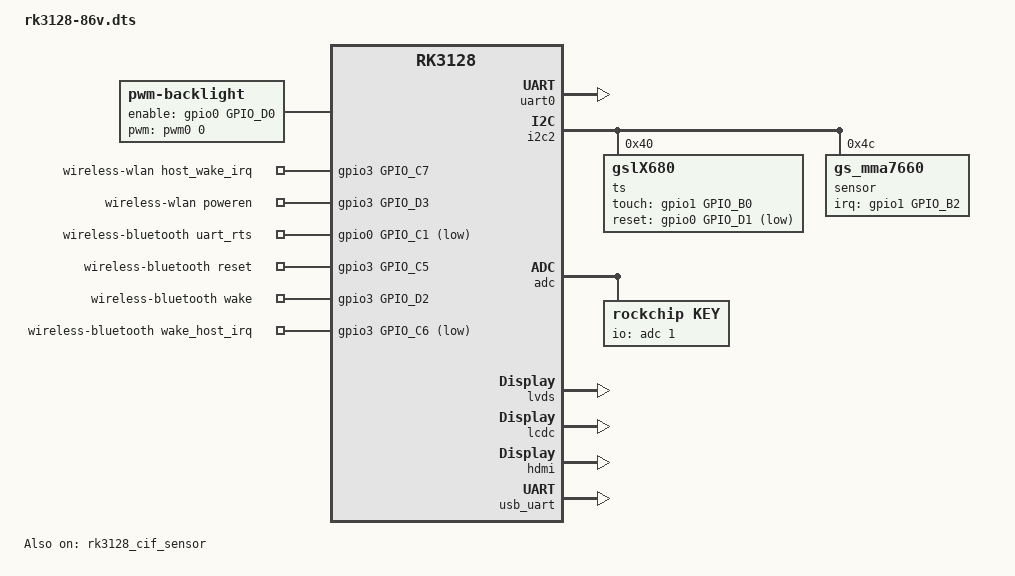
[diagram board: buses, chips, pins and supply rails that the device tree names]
// SPDX-License-Identifier: (GPL-2.0+ OR MIT)
/dts-v1/;

#include "rk3128.dtsi"
#include "rk3128-cif-sensor.dtsi"
#include "rk312x-sdk.dtsi"
#include "lcd-rk3128-86v-LVDS1024x600.dtsi"

/ {
	compatible = "rockchip,rk3128";
        backlight: backlight {
                compatible = "pwm-backlight";
                pwms = <&pwm0 0 25000>;
		brightness-levels = <18 18 18 18 19 19 19 19 20 20 20 20 20 20 21 21 21 21 21 21 22 22 22 23 24 25 26 27 28 29 30 31 32 33 34 35 36 37 38 39 40 41 42 43 44 45 46 47 48 49 50 51 52 53 54 55 56 57 58 59 60 61 62 63 64 65 66 67 68 69 70 71 72 73 74 75 76 77 78 79 80 81 82 83 84 85 86 87 88 89 90 91 92 93 94 95 96 97 98 99 100 101 102 103 104 105 106 107 108 109 110 111 112 113 114 115 116 117 118 119 120 121 122 123 124 125 126 127 128 129 130 131 132 133 134 135 136 137 138 139 140 141 142 143 144 145 146 147 148 149 150 151 152 153 154 155 156 157 158 159 160 161 162 163 164 165 166 167 168 169 170 171 172 173 174 175 176 177 178 179 180 181 182 183 184 185 186 187 188 189 190 191 192 193 194 195 196 197 198 199 200 201 202 203 204 205 206 207 208 209 210 211 212 213 214 215 216 217 218 219 220 221 222 223 224 225 226 227 228 229 230 231 232 233 234 235 236 237 238 239 240 241 242 243 244 245 246 247 248 249 250 251 252 253 254 255>;
                default-brightness-level = <128>;
		enable-gpios = <&gpio0 GPIO_D0 GPIO_ACTIVE_HIGH>;
        };

	usb_control {
		compatible = "rockchip,rk3126-usb-control";

		//host_drv_gpio = <&gpio3 GPIO_C4 GPIO_ACTIVE_LOW>;
		//otg_drv_gpio = <&gpio3 GPIO_C1 GPIO_ACTIVE_LOW>;

		rockchip,remote_wakeup;
		rockchip,usb_irq_wakeup;
	};


	wireless-wlan {
		compatible = "wlan-platdata";

		/* wifi_chip_type - wifi chip define
                 * ap6210, ap6330, ap6335
                 * rtl8188eu, rtl8723bs, rtl8723bu
                 * esp8089
		*/
		wifi_chip_type = "rtl8188eu";
		sdio_vref = <1800>; //1800mv or 3300mv

		//	power_ctrl_by_pmu;
		// 	pmu_regulator = "act_ldo3";
		// 	pmu_enable_level = <1>; //1->HIGH, 0->LOW
		/* WIFI_HOST_WAKE = GPIO3_C7 */
		WIFI,host_wake_irq = <&gpio3 GPIO_C7 GPIO_ACTIVE_HIGH>;
		/* WIFI_REG_ON 	= GPIO3_D3 */
		WIFI,poweren_gpio  = <&gpio3 GPIO_D3 GPIO_ACTIVE_HIGH>;

		status = "okay";
	};
	wireless-bluetooth {
		compatible = "bluetooth-platdata";

		//wifi-bt-power-toggle;

		uart_rts_gpios = <&gpio0 GPIO_C1 GPIO_ACTIVE_LOW>;
		pinctrl-names = "default","rts_gpio";
		pinctrl-0 = <&uart0_rts>;
		pinctrl-1 = <&uart0_rts_gpio>;


		/* BT_HOST_WAKE = GPIO3_C6 */
		/* BT_RST 		= GPIO3_C5 */
		/* BT_WAKE 		= GPIO3_D2 */
		//BT,power_gpio = <&gpio4 GPIO_D3 GPIO_ACTIVE_HIGH>;
		BT,reset_gpio = <&gpio3 GPIO_C5 GPIO_ACTIVE_HIGH>;
		BT,wake_gpio = <&gpio3 GPIO_D2 GPIO_ACTIVE_HIGH>;
		BT,wake_host_irq = <&gpio3 GPIO_C6 GPIO_ACTIVE_LOW>;

		status = "okay";
	};

	rockchip_suspend: rockchip_suspend {
                           rockchip,ctrbits = <
                           (0
                           |RKPM_CTR_PWR_DMNS
                           |RKPM_CTR_GTCLKS
                           |RKPM_CTR_PLLS
                           |RKPM_CTR_ARMOFF_LPMD
                           |RKPM_CTR_IDLESRAM_MD
                           |RKPM_CTR_DDR
                   //        |RKPM_CTR_VOLTS
                           |RKPM_CTR_BUS_IDLE
                   //        |RKPM_CTR_VOL_PWM1
                           )
                   >;
          rockchip,pmic-suspend_gpios = <GPIO3_C1>;
     };

};

&gmac{
	status = "disabled";
};

&uart0 {
        status = "okay";
        dma-names = "!tx", "!rx";
        pinctrl-0 = <&uart0_xfer &uart0_cts>;
};

&rk818 { /* PMIC_INT == GPIO1_B1 				PMIC_SLEEP == GPIO3_C1*/
    gpios =<&gpio1 GPIO_B1 GPIO_ACTIVE_HIGH>,<&gpio3 GPIO_C1 GPIO_ACTIVE_LOW>;
};
/*
&rk818_dcdc3_reg{
	regulator-name= "vcc_ddr";
};

&rk818_ldo1_reg{
	regulator-name= "vcc_tp";
};
*/


&i2c2 {
	status = "okay";
	ts@40 {
		compatible = "gslX680";
		reg = <0x40>;
		touch-gpio = <&gpio1 GPIO_B0 IRQ_TYPE_LEVEL_LOW>;	/* TP_INT == GPIO1_B0 */
		reset-gpio = <&gpio0 GPIO_D1 GPIO_ACTIVE_LOW>;		/* TP_RST == GPIO0_D1 */
		//power-gpio = <&gpio0 GPIO_C5 GPIO_ACTIVE_LOW>;
		max-x = <1280>;
		max-y = <600>;
		status = "okay";
	};

	sensor@4c {
		compatible = "gs_mma7660";
		reg = <0x4c>;
		type = <SENSOR_TYPE_ACCEL>;
		irq-gpio = <&gpio1 GPIO_B2 IRQ_TYPE_LEVEL_LOW>;		/* GSENSOR_INT = GPIO1_B2 */
		irq_enable = <0>;
		poll_delay_ms = <30>;
		layout = <1>;
	};
};

&adc{
	status = "okay";
	key: key {
		compatible = "rockchip,key";
		io-channels = <&adc 1>;

		vol-up-key {
			linux,code = <115>;
			label = "volume up";

			rockchip,adc_value = <1>;

		};

		vol-down-key {
			linux,code = <114>;
			label = "volume down";

			rockchip,adc_value = <512>;

		};
		/*  PWR_KEY == GPIO0_A2 */
		power-key {
			gpios = <&gpio0 GPIO_A2 GPIO_ACTIVE_LOW>;
			linux,code = <116>;
			label = "power";
			gpio-key,wakeup;
		};

	};
};

&fb {
	rockchip,disp-mode = <ONE_DUAL>;
	rockchip,uboot-logo-on = <1>;
};

&rk_screen {
	display-timings = <&disp_timings>;
};

&lvds {
	status = "okay";

	pinctrl-names = "lcdc";
	pinctrl-0 = <&lcdc0_lcdc_d>;
};

&lcdc {
	status = "okay";

	//backlight = <&backlight>;
	pinctrl-names = "default", "gpio";
	pinctrl-0 = <&lcdc0_lcdc>;
	pinctrl-1 = <&lcdc0_gpio>;

	rockchip,fb-win-map = <FB_DEFAULT_ORDER>;
	power_ctr: power_ctr {
		rockchip,debug = <0>;
		/*
		lcd_en: lcd_en {
			rockchip,power_type = <GPIO>;
			gpios = <&gpio3 GPIO_C4 GPIO_ACTIVE_HIGH>;
			rockchip,delay = <10>;
		};
		*/
	};
};

&hdmi {
        status = "okay"; //"disabled";
};

&sdmmc {/* SDMMC_DET = GPIO1_C1 */
	cd-gpios = <&gpio1 GPIO_C1 GPIO_ACTIVE_HIGH>;/*CD GPIO*/
    status = "disabled";
};

&dwc_control_usb {
	usb_uart {
		status = "ok";
	};
};

&codec {
		spk_ctl_io = <&gpio0 GPIO_D6 GPIO_ACTIVE_HIGH>;/* SPK_CTL == GPIO0_D6 */
        spk-mute-delay = <200>;
        hp-mute-delay = <100>;
        rk312x_for_mid = <1>;
        is_rk3128 = <0>;/* is_rk3128 = <0> */
        spk_volume = <25>;
        hp_volume = <25>;
        capture_volume = <26>;
        gpio_debug = <1>;
        codec_hp_det = <0>;
};

&rk3128_cif_sensor{
	status = "okay";
};


&clk_core_dvfs_table {
	operating-points = <
		/* KHz    uV */
		216000 925000
		408000 925000
		600000 950000
		696000 975000
		816000 1050000
		1008000 1175000
		1200000 1300000
	//	1296000 1350000
	//	1320000 1375000
		>;
	status="okay";
};

&clk_gpu_dvfs_table {
	operating-points = <
		/* KHz    uV */
		200000 1000000
		300000 1025000
		400000 1125000
		//480000 1175000
		>;
	status="okay";
};

&clk_ddr_dvfs_table {
	operating-points = <
		/* KHz    uV */
		200000 1000000
		300000 1000000
		400000 1075000
		533000 1250000
		>;

	freq-table = <
		/*status		freq(KHz)*/
		SYS_STATUS_NORMAL	400000
		SYS_STATUS_SUSPEND	200000
		SYS_STATUS_VIDEO_1080P  240000
		SYS_STATUS_VIDEO_4K     400000
		SYS_STATUS_PERFORMANCE  528000
		SYS_STATUS_DUALVIEW	400000
		SYS_STATUS_BOOST	324000
		SYS_STATUS_ISP		533000
		>;
	auto-freq-table = <
		240000
		324000
		396000
		528000
		>;
	auto-freq=<0>;
	status="okay";
};
